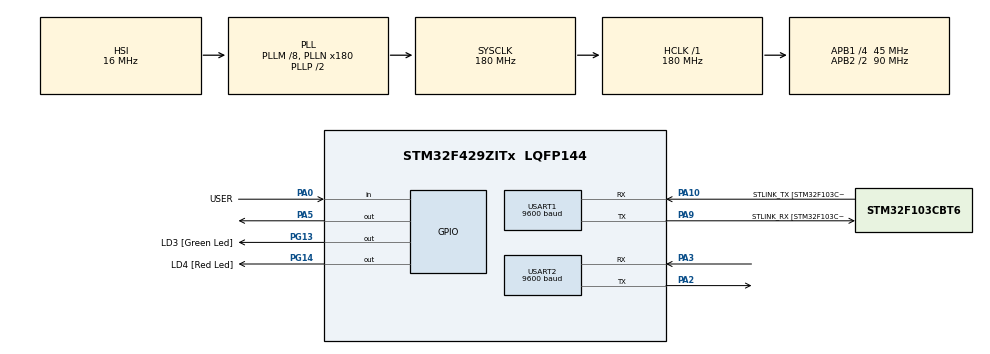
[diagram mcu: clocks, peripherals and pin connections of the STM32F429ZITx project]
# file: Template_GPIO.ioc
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Mcu.Family=STM32F4
Mcu.Name=STM32F429ZITx
Mcu.Package=LQFP144
NVIC.PriorityGroup=NVIC_PRIORITYGROUP_4
NVIC.RTC_Alarm_IRQn=true\:0\:0\:false\:false\:true\:true\:true\:true
NVIC.USART1_IRQn=true\:0\:0\:false\:false\:true\:true\:true\:true
NVIC.USART2_IRQn=true\:0\:0\:false\:false\:true\:true\:true\:true
PA0/WKUP.GPIO_Label=USER
PA0/WKUP.Signal=GPIO_Input
PA10.GPIO_Label=STLINK_TX [STM32F103CBT6_PA2]
PA10.Mode=Asynchronous
PA10.Signal=USART1_RX
PA13.GPIO_Label=SWDIO
PA13.Mode=Serial_Wire
PA13.Signal=SYS_JTMS-SWDIO
PA14.GPIO_Label=SWCLK
PA14.Mode=Serial_Wire
PA14.Signal=SYS_JTCK-SWCLK
PA2.Mode=Asynchronous
PA2.Signal=USART2_TX
PA3.Mode=Asynchronous
PA3.Signal=USART2_RX
PA5.Signal=GPIO_Output
PA9.GPIO_Label=STLINK_RX [STM32F103CBT6_PA3]
PA9.Mode=Asynchronous
PA9.Signal=USART1_TX
PG13.GPIO_Label=LD3 [Green Led]
PG13.Signal=GPIO_Output
PG14.GPIO_Label=LD4 [Red Led]
PG14.GPIO_Mode=GPIO_MODE_OUTPUT_PP
PG14.GPIO_PuPd=GPIO_NOPULL
PG14.GPIO_Speed=GPIO_SPEED_FREQ_LOW
PG14.Signal=GPIO_Output
PH0/OSC_IN.GPIO_Label=PH0-OSC_IN
PH0/OSC_IN.Mode=HSE-External-Oscillator
PH0/OSC_IN.Signal=RCC_OSC_IN
PH1/OSC_OUT.GPIO_Label=PH1-OSC_OUT
PH1/OSC_OUT.Mode=HSE-External-Oscillator
PH1/OSC_OUT.Signal=RCC_OSC_OUT
ProjectManager.HeapSize=0x200
ProjectManager.StackSize=0x400
ProjectManager.TargetToolchain=MDK-ARM V5.32
RCC.48MHZClocksFreq_Value=51428571.428571425
RCC.AHBFreq_Value=180000000
RCC.APB1CLKDivider=RCC_HCLK_DIV4
RCC.APB1Freq_Value=45000000
RCC.APB1TimFreq_Value=90000000
RCC.APB2CLKDivider=RCC_HCLK_DIV2
RCC.APB2Freq_Value=90000000
RCC.APB2TimFreq_Value=180000000
RCC.CortexFreq_Value=180000000
RCC.HCLKFreq_Value=180000000
RCC.HSE_VALUE=8000000
RCC.HSI_VALUE=16000000
RCC.LSE_VALUE=32768
RCC.PLLM=8
RCC.PLLN=180
RCC.PLLQ=7
RCC.SYSCLKFreq_VALUE=180000000
RCC.SYSCLKSource=RCC_SYSCLKSOURCE_PLLCLK
RCC.VCOOutputFreq_Value=360000000
RTC.Alarm=RTC_ALARM_A
RTC.Format=RTC_FORMAT_BIN
USART1.BaudRate=9600
USART1.VirtualMode=VM_ASYNC
USART2.BaudRate=9600
USART2.VirtualMode=VM_ASYNC
VP_RTC_VS_RTC_Activate.Mode=RTC_Enabled
VP_RTC_VS_RTC_Alarm_A_Intern.Mode=Alarm A
VP_RTC_VS_RTC_Calendar.Mode=RTC_Calendar
board=STM32F429I-DISC1

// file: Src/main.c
/* USER CODE BEGIN Header */
/**
  ******************************************************************************
  * @file           : main.c
  * @brief          : Main program body
  ******************************************************************************
  * @attention
  *
  * <h2><center>&copy; Copyright (c) 2020 STMicroelectronics.
  * All rights reserved.</center></h2>
  *
  * This software component is licensed by ST under BSD 3-Clause license,
  * the "License"; You may not use this file except in compliance with the
  * License. You may obtain a copy of the License at:
  *                        opensource.org/licenses/BSD-3-Clause
  *
  ******************************************************************************
  */
/* USER CODE END Header */
#include "main.h"

/* USER CODE BEGIN Includes */
#include <stdio.h>
#include <string.h>
#include <stdint.h>
#include <ctype.h>
/* USER CODE END Includes */

/* USER CODE BEGIN PM */
#define TIME_BUFFER_LEN 8
#define DATE_BUFFER_LEN 10
#define STR_BUFFER_LEN 64
#define EVERYDAY 0xFF
/* USER CODE END PM */

RTC_HandleTypeDef hrtc;

UART_HandleTypeDef huart1;
UART_HandleTypeDef huart2;

/* USER CODE BEGIN PV */
static char timeData[TIME_BUFFER_LEN + 1];
static char dateData[DATE_BUFFER_LEN + 1];
static char dataStr[STR_BUFFER_LEN + 1];
static uint8_t dataChar;
static uint8_t i = 0;
static uint8_t alarmOn = 0;
/* USER CODE END PV */

void SystemClock_Config(void);
static void MX_GPIO_Init(void);
static void MX_USART1_UART_Init(void);
static void MX_USART2_UART_Init(void);
static void MX_RTC_Init(void);

/* USER CODE BEGIN 0 */

// START RTC FUNCTIONS

void set_time (uint8_t hr, uint8_t min, uint8_t sec)
{
	RTC_TimeTypeDef sTime = {0};
	sTime.Hours = hr;
	sTime.Minutes = min;
	sTime.Seconds = sec;
	sTime.DayLightSaving = RTC_DAYLIGHTSAVING_NONE;
	sTime.StoreOperation = RTC_STOREOPERATION_RESET;
	if (HAL_RTC_SetTime(&hrtc, &sTime, RTC_FORMAT_BIN) != HAL_OK)
	{
		Error_Handler();
	}
}

void set_date (uint8_t year, uint8_t month, uint8_t date, uint8_t day)  // monday = 1
{
	RTC_DateTypeDef sDate = {0};
	sDate.WeekDay = day;
	sDate.Month = month;
	sDate.Date = date;
	sDate.Year = year;
	if (HAL_RTC_SetDate(&hrtc, &sDate, RTC_FORMAT_BIN) != HAL_OK)
	{
		Error_Handler();
	}

	HAL_RTCEx_BKUPWrite(&hrtc, RTC_BKP_DR1, 0x2345);  // backup register
}

void get_time_date(char *time, char *date)
{
  RTC_DateTypeDef gDate;
  RTC_TimeTypeDef gTime;

  /* Get the RTC current Time */
  HAL_RTC_GetTime(&hrtc, &gTime, RTC_FORMAT_BIN);
  /* Get the RTC current Date */
  HAL_RTC_GetDate(&hrtc, &gDate, RTC_FORMAT_BIN);

  /* Display time Format: hh:mm:ss */
  sprintf((char*)time,"%02d:%02d:%02d",gTime.Hours, gTime.Minutes, gTime.Seconds);

  /* Display date Format: dd-mm-yyyy */
  sprintf((char*)date,"%02d-%02d-%4d",gDate.Date, gDate.Month, 2000 + gDate.Year);
}

void set_alarm (uint8_t hr, uint8_t min, uint8_t sec, uint8_t date)
{
	RTC_AlarmTypeDef sAlarm = {0};
	sAlarm.AlarmTime.Hours = hr;
	sAlarm.AlarmTime.Minutes = min;
	sAlarm.AlarmTime.Seconds = sec;
	sAlarm.AlarmTime.SubSeconds = 0;
	sAlarm.AlarmTime.DayLightSaving = RTC_DAYLIGHTSAVING_NONE;
	sAlarm.AlarmTime.StoreOperation = RTC_STOREOPERATION_RESET;
	if(date == EVERYDAY)
    sAlarm.AlarmMask = RTC_ALARMMASK_DATEWEEKDAY;
  else
    sAlarm.AlarmMask = RTC_ALARMMASK_NONE;
	sAlarm.AlarmSubSecondMask = RTC_ALARMSUBSECONDMASK_ALL;
	sAlarm.AlarmDateWeekDaySel = RTC_ALARMDATEWEEKDAYSEL_DATE;
	sAlarm.AlarmDateWeekDay = date;
	sAlarm.Alarm = RTC_ALARM_A;
	if (HAL_RTC_SetAlarm_IT(&hrtc, &sAlarm, RTC_FORMAT_BIN) != HAL_OK)
	{
		Error_Handler();
	}
}

// END RTC FUNCTIONS

// UTILITY FUNCTIONS

void trim(char *str)
{
    char *start = str;
    char *end;

    while(*start && isspace((unsigned char)*start)) start++;

    if(*start == 0) {
        *str = 0;
        return;
    }

    end = start + strlen(start) - 1;
    while(end > start && isspace((unsigned char)*end)) end--;
    end[1] = '\0';

    if(start != str) {
        memmove(str, start, end - start + 2);
    }
}

int getWeekDay(int y, int m, int d) {
    if(m < 3) { m += 12; y -= 1; }
    int k = y % 100;
    int j = y / 100;
    int f = d + 13*(m+1)/5 + k + k/4 + j/4 + 5*j;
    return ((f + 5) % 7) + 1; // 1 = Monday, 7 = Sunday
}

// UTILITY FUNCTIONS

// LOGIC FUNCTIONS
// int sscanf(const char *str, const char *format, ...);
void parse_time(char* strTimeDate)
{
  uint8_t hr, min, sec;
  uint8_t year, month, date, day;

  sscanf(strTimeDate, "INIT_TIME(%hhu:%hhu:%hhu, %hhu.%hhu.%hhu)", &hr, &min, &sec, &year, &month, &date);
  day = getWeekDay(year, month, date);

  set_time(hr, min, sec);
  set_date(year, month, date, day);

}

//void set_alarm (uint8_t hr, uint8_t min, uint8_t sec, uint8_t date)
void parse_alarm(char* strAlarm)
{
  //SET_ALARM(hr:mm, dd) -> SET_ALARM(12)
  uint8_t hour, min;
  sscanf(strAlarm, "SET_ALARM(%hhu:%hhu)", &hour, &min);
  set_alarm(hour, min, 0, EVERYDAY);
}

void start_alarm()
{
  alarmOn = 1;
}

void stop_alarm()
{
  alarmOn = 0;
}

void parse_command(char* command)
{
  trim(command);
  if(strncmp(command, "INIT_TIME", strlen("INIT_TIME")) == 0)
  {
    parse_time(command);
  }
  else if(strncmp(command, "SET_ALARM", strlen("SET_ALARM")) == 0)
  {
    parse_alarm(command);
  }
  else if(strncmp(command, "STOP_ALARM", strlen("STOP_ALARM")) == 0)
  {
    stop_alarm();
  }
  else{
    printf("\n\rInvalid command\r\n");
  }
}

// LOGIC FUNCTIONS
int main(void)
{
  HAL_Init();
  SystemClock_Config();
  MX_GPIO_Init();
  MX_USART1_UART_Init();
  MX_USART2_UART_Init();
  MX_RTC_Init();

	printf("\n\rUSV - FIESC \n\r");
	printf("Laborator MICROCONTROLERE - Template STM32F429I-DISCO \n\r");

  // RTC

  if (HAL_RTCEx_BKUPRead(&hrtc, RTC_BKP_DR1) != 0x2345)
  {
    set_time(0, 0, 0);
    set_date(25, 12, 3, 3);
  }
  // set_alarm(0, 0, 0, EVERYDAY);
    set_date(25, 12, 3, 3);

  uint32_t lastToggle = 0;
  uint8_t pinState = 0; // PA5
  // RTC

  // BT: HC-05
  dataStr[STR_BUFFER_LEN] = '\0';
  HAL_UART_Receive_IT(&huart2, &dataChar, 1);

  // BT: HC-05
  while (1)
  {
    /*
		if(HAL_GPIO_ReadPin(GPIOA,GPIO_PIN_0) == GPIO_PIN_RESET)
			HAL_GPIO_TogglePin(GPIOG,GPIO_PIN_14);
		else
			HAL_GPIO_TogglePin(GPIOG,GPIO_PIN_13);
		*/
    get_time_date(timeData, dateData);
    printf("%s\r\n", dataStr);
		printf("%s\r\n", timeData);
		printf("%s\r\n", dateData);

    if(alarmOn)
    {
      if(HAL_GetTick() - lastToggle >= 100) // 100 ms interval
      {
        lastToggle = HAL_GetTick();
        pinState = !pinState;
        HAL_GPIO_WritePin(GPIOA, GPIO_PIN_5, pinState ? GPIO_PIN_SET : GPIO_PIN_RESET);
      }
    }
    else{
      HAL_GPIO_WritePin(GPIOA, GPIO_PIN_5, alarmOn);
    }
    HAL_Delay(500);
  }
}

// CALLBACKS (move after main if problems occur)

void HAL_RTC_AlarmAEventCallback(RTC_HandleTypeDef *hrtc)
{
  start_alarm();
}

void HAL_UART_RxCpltCallback(UART_HandleTypeDef *huart){
    if(huart->Instance == USART2){
        if(dataChar == '\r' || dataChar == '\n'){
            if(i > 0){
                HAL_UART_Transmit(&huart2, (uint8_t*)dataStr, i, HAL_MAX_DELAY);
                parse_command(dataStr);
                memset(dataStr, 0, STR_BUFFER_LEN);
                i = 0;
            }
        } else {
            if(i < STR_BUFFER_LEN){
                dataStr[i++] = dataChar;
            }
        }

        HAL_UART_Receive_IT(&huart2, &dataChar, 1);
    }
}

// END CALLBACKS

void SystemClock_Config(void)
{
  RCC_OscInitTypeDef RCC_OscInitStruct = {0};
  RCC_ClkInitTypeDef RCC_ClkInitStruct = {0};

  /** Configure the main internal regulator output voltage
  */
  __HAL_RCC_PWR_CLK_ENABLE();
  __HAL_PWR_VOLTAGESCALING_CONFIG(PWR_REGULATOR_VOLTAGE_SCALE1);

  /** Initializes the RCC Oscillators according to the specified parameters
  * in the RCC_OscInitTypeDef structure.
  */
  RCC_OscInitStruct.OscillatorType = RCC_OSCILLATORTYPE_HSI|RCC_OSCILLATORTYPE_LSI;
  RCC_OscInitStruct.HSIState = RCC_HSI_ON;
  RCC_OscInitStruct.HSICalibrationValue = RCC_HSICALIBRATION_DEFAULT;
  RCC_OscInitStruct.LSIState = RCC_LSI_ON;
  RCC_OscInitStruct.PLL.PLLState = RCC_PLL_ON;
  RCC_OscInitStruct.PLL.PLLSource = RCC_PLLSOURCE_HSI;
  RCC_OscInitStruct.PLL.PLLM = 8;
  RCC_OscInitStruct.PLL.PLLN = 180;
  RCC_OscInitStruct.PLL.PLLP = RCC_PLLP_DIV2;
  RCC_OscInitStruct.PLL.PLLQ = 7;
  if (HAL_RCC_OscConfig(&RCC_OscInitStruct) != HAL_OK)
  {
    Error_Handler();
  }

  /** Activate the Over-Drive mode
  */
  if (HAL_PWREx_EnableOverDrive() != HAL_OK)
  {
    Error_Handler();
  }

  /** Initializes the CPU, AHB and APB buses clocks
  */
  RCC_ClkInitStruct.ClockType = RCC_CLOCKTYPE_HCLK|RCC_CLOCKTYPE_SYSCLK
                              |RCC_CLOCKTYPE_PCLK1|RCC_CLOCKTYPE_PCLK2;
  RCC_ClkInitStruct.SYSCLKSource = RCC_SYSCLKSOURCE_PLLCLK;
  RCC_ClkInitStruct.AHBCLKDivider = RCC_SYSCLK_DIV1;
  RCC_ClkInitStruct.APB1CLKDivider = RCC_HCLK_DIV4;
  RCC_ClkInitStruct.APB2CLKDivider = RCC_HCLK_DIV2;

  if (HAL_RCC_ClockConfig(&RCC_ClkInitStruct, FLASH_LATENCY_5) != HAL_OK)
  {
    Error_Handler();
  }
}

static void MX_RTC_Init(void)
{
  hrtc.Instance = RTC;
  hrtc.Init.HourFormat = RTC_HOURFORMAT_24;
  hrtc.Init.AsynchPrediv = 127;
  hrtc.Init.SynchPrediv = 255;
  hrtc.Init.OutPut = RTC_OUTPUT_DISABLE;
  hrtc.Init.OutPutPolarity = RTC_OUTPUT_POLARITY_HIGH;
  hrtc.Init.OutPutType = RTC_OUTPUT_TYPE_OPENDRAIN;
  if (HAL_RTC_Init(&hrtc) != HAL_OK)
  {
    Error_Handler();
  }
/*
  RTC_TimeTypeDef sTime = {0};
  RTC_DateTypeDef sDate = {0};
  RTC_AlarmTypeDef sAlarm = {0};

  sTime.Hours = 0;
  sTime.Minutes = 0;
  sTime.Seconds = 0;
  sTime.DayLightSaving = RTC_DAYLIGHTSAVING_NONE;
  sTime.StoreOperation = RTC_STOREOPERATION_RESET;
  if (HAL_RTC_SetTime(&hrtc, &sTime, RTC_FORMAT_BIN) != HAL_OK)
  {
    Error_Handler();
  }
  sDate.WeekDay = RTC_WEEKDAY_MONDAY;
  sDate.Month = RTC_MONTH_JANUARY;
  sDate.Date = 1;
  sDate.Year = 0;

  if (HAL_RTC_SetDate(&hrtc, &sDate, RTC_FORMAT_BIN) != HAL_OK)
  {
    Error_Handler();
  }

  sAlarm.AlarmTime.Hours = 0;
  sAlarm.AlarmTime.Minutes = 0;
  sAlarm.AlarmTime.Seconds = 0;
  sAlarm.AlarmTime.SubSeconds = 0;
  sAlarm.AlarmTime.DayLightSaving = RTC_DAYLIGHTSAVING_NONE;
  sAlarm.AlarmTime.StoreOperation = RTC_STOREOPERATION_RESET;
  sAlarm.AlarmMask = RTC_ALARMMASK_NONE;
  sAlarm.AlarmSubSecondMask = RTC_ALARMSUBSECONDMASK_ALL;
  sAlarm.AlarmDateWeekDaySel = RTC_ALARMDATEWEEKDAYSEL_DATE;
  sAlarm.AlarmDateWeekDay = 1;
  sAlarm.Alarm = RTC_ALARM_A;
  if (HAL_RTC_SetAlarm_IT(&hrtc, &sAlarm, RTC_FORMAT_BIN) != HAL_OK)
  {
    Error_Handler();
  }
*/
}

static void MX_USART1_UART_Init(void)
{

  huart1.Instance = USART1;
  huart1.Init.BaudRate = 9600;
  huart1.Init.WordLength = UART_WORDLENGTH_8B;
  huart1.Init.StopBits = UART_STOPBITS_1;
  huart1.Init.Parity = UART_PARITY_NONE;
  huart1.Init.Mode = UART_MODE_TX_RX;
  huart1.Init.HwFlowCtl = UART_HWCONTROL_NONE;
  huart1.Init.OverSampling = UART_OVERSAMPLING_16;
  if (HAL_UART_Init(&huart1) != HAL_OK)
  {
    Error_Handler();
  }
  /* USER CODE BEGIN USART1_Init 2 */
  /* TODO: Uncomment if the code breaks
	SET_BIT(huart1.Instance->CR1, USART_CR1_RXNEIE);
  HAL_NVIC_SetPriority(USART1_IRQn, 0, 0);
  HAL_NVIC_EnableIRQ(USART1_IRQn);
  */
  /* USER CODE END USART1_Init 2 */

}

static void MX_USART2_UART_Init(void)
{

  huart2.Instance = USART2;
  huart2.Init.BaudRate = 9600;
  huart2.Init.WordLength = UART_WORDLENGTH_8B;
  huart2.Init.StopBits = UART_STOPBITS_1;
  huart2.Init.Parity = UART_PARITY_NONE;
  huart2.Init.Mode = UART_MODE_TX_RX;
  huart2.Init.HwFlowCtl = UART_HWCONTROL_NONE;
  huart2.Init.OverSampling = UART_OVERSAMPLING_16;
  if (HAL_UART_Init(&huart2) != HAL_OK)
  {
    Error_Handler();
  }

}

static void MX_GPIO_Init(void)
{
  GPIO_InitTypeDef GPIO_InitStruct = {0};

  /* GPIO Ports Clock Enable */
  __HAL_RCC_GPIOH_CLK_ENABLE();
  __HAL_RCC_GPIOA_CLK_ENABLE();
  __HAL_RCC_GPIOG_CLK_ENABLE();

  /*Configure GPIO pin Output Level */
  HAL_GPIO_WritePin(GPIOA, GPIO_PIN_5, GPIO_PIN_RESET);

  /*Configure GPIO pin Output Level */
  HAL_GPIO_WritePin(GPIOG, LD3_Pin|LD4_Pin, GPIO_PIN_RESET);

  /*Configure GPIO pin : USER_Pin */
  GPIO_InitStruct.Pin = USER_Pin;
  GPIO_InitStruct.Mode = GPIO_MODE_INPUT;
  GPIO_InitStruct.Pull = GPIO_NOPULL;
  HAL_GPIO_Init(USER_GPIO_Port, &GPIO_InitStruct);

  /*Configure GPIO pin : PA5 */
  GPIO_InitStruct.Pin = GPIO_PIN_5;
  GPIO_InitStruct.Mode = GPIO_MODE_OUTPUT_PP;
  GPIO_InitStruct.Pull = GPIO_NOPULL;
  GPIO_InitStruct.Speed = GPIO_SPEED_FREQ_LOW;
  HAL_GPIO_Init(GPIOA, &GPIO_InitStruct);

  /*Configure GPIO pins : LD3_Pin LD4_Pin */
  GPIO_InitStruct.Pin = LD3_Pin|LD4_Pin;
  GPIO_InitStruct.Mode = GPIO_MODE_OUTPUT_PP;
  GPIO_InitStruct.Pull = GPIO_NOPULL;
  GPIO_InitStruct.Speed = GPIO_SPEED_FREQ_LOW;
  HAL_GPIO_Init(GPIOG, &GPIO_InitStruct);

}

/* USER CODE BEGIN 4 */
#ifdef __GNUC__
  /* With GCC/RAISONANCE, small printf (option LD Linker->Libraries->Small printf
     set to 'Yes') calls __io_putchar() */
  #define PUTCHAR_PROTOTYPE int __io_putchar(int ch)
#else
  #define PUTCHAR_PROTOTYPE int fputc(int ch, FILE *f)
#endif /* __GNUC__ */
/**
  * @brief  Retargets the C library printf function to the USART.
  * @param  None
  * @retval None
  */
PUTCHAR_PROTOTYPE
{
  /* write a character to the uart1 and Loop until the end of transmission */
  HAL_UART_Transmit(&huart1, (uint8_t *)&ch, 1, 0xFFFF);

  return ch;
}
/* USER CODE END 4 */

void Error_Handler(void)
{
}
